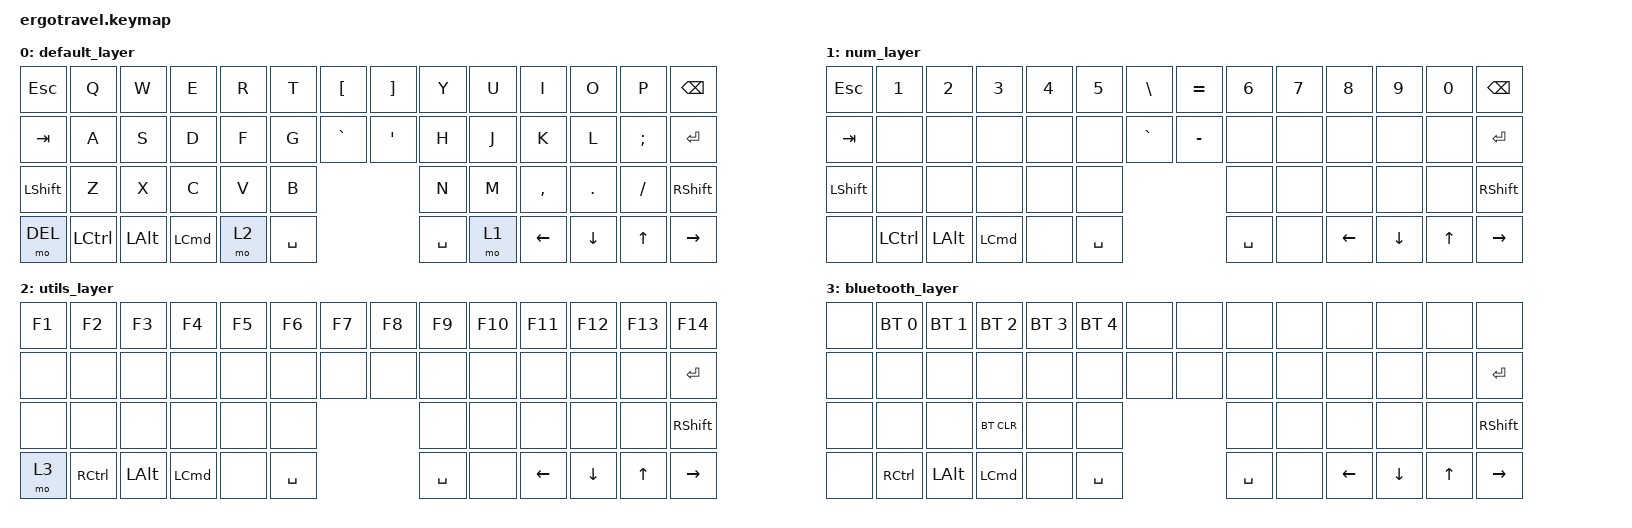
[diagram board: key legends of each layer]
#include <behaviors.dtsi>
#include <dt-bindings/zmk/keys.h>
#include <dt-bindings/zmk/bt.h>

/ {
    keymap {
        compatible = "zmk,keymap";

        default_layer {
// --------------------------------------------------------------------------------------------------------------------------------------------------------------------
// |   ESC   |    Q    |    W    |    E    |    R    |    T    |    {    |  |    }    |    Y    |    U    |    I    |    O    |    P    |  BSPC   |
// |   CTRL  |    A    |    S    |    D    |    F    |    G    |    `    |  |    '    |    H    |    J    |    K    |    L    |    ;    |  ENTER  |
// |  SHIFT  |    Z    |    X    |    C    |    V    |    B    |                      |    N    |    M    |    ,    |    .    |    /    |  SHIFT  |
// |  none   |  CTRL   |  OPTION |   CMD   |  LOWER  |  SPACE  |                      |  SPACE  |  RAISE  |   LEFT  |  DOWN   |   UP    |  RIGHT  |
            bindings = <
    &kp ESC    &kp Q     &kp W    &kp E     &kp R     &kp T     &kp LBKT     &kp RBKT  &kp Y     &kp U     &kp I     &kp O     &kp P     &kp BSPC
    &kp TAB    &kp A     &kp S    &kp D     &kp F     &kp G     &kp GRAVE    &kp SQT   &kp H     &kp J     &kp K     &kp L     &kp SEMI  &kp ENTER
    &kp LSHIFT &kp Z     &kp X    &kp C     &kp V     &kp B                            &kp N     &kp M     &kp COMMA &kp DOT   &kp FSLH  &kp RSHIFT
    &mo DEL    &kp LCTRL &kp LALT &kp LCMD  &mo 2     &kp SPACE                        &kp SPACE &mo 1     &kp LEFT  &kp DOWN  &kp UP    &kp RIGHT
            >;
        };

        num_layer {
            bindings = <
    &kp ESC    &kp N1    &kp N2   &kp N3    &kp N4    &kp N5    &kp BSLH     &kp EQUAL &kp N6    &kp N7    &kp N8    &kp N9    &kp N0    &kp BSPC
    &kp TAB    &none     &none    &none     &none     &none     &kp GRAVE    &kp MINUS &none     &none     &none     &none     &none     &kp ENTER
    &kp LSHIFT &none     &none    &none     &none     &none                            &none     &none     &none     &none     &none     &kp RSHIFT
    &none      &kp LCTRL &kp LALT &kp LCMD  &none   &kp SPACE                        &kp SPACE &none     &kp LEFT  &kp DOWN  &kp UP    &kp RIGHT
            >;            
        };

        utils_layer {
            bindings = <
    &kp F1    &kp F2    &kp F3   &kp F4    &kp F5    &kp F6    &kp F7       &kp F8    &kp F9    &kp F10   &kp F11   &kp F12   &kp F13   &kp F14
    &none     &none     &none    &none     &none     &none     &none        &none     &none     &none     &none     &none     &none     &kp ENTER
    &none     &none     &none    &none     &none     &none                            &none     &none     &none     &none     &none     &kp RSHIFT
    &mo 3     &kp RCTRL &kp LALT &kp LCMD  &none     &kp SPACE                        &kp SPACE &none     &kp LEFT  &kp DOWN  &kp UP    &kp RIGHT
            >;            
        };

        bluetooth_layer {
            bindings = <
    &none &bt BT_SEL 0 &bt BT_SEL 1 &bt BT_SEL 2 &bt BT_SEL 3 &bt BT_SEL 4    &none       &none    &none    &none   &none   &none   &none   &none
    &none     &none     &none    &none     &none     &none     &none        &none     &none     &none     &none     &none     &none     &kp ENTER
    &none     &none     &none    &bt BT_CLR  &none     &none                            &none     &none     &none     &none     &none     &kp RSHIFT
    &none     &kp RCTRL &kp LALT &kp LCMD  &none     &kp SPACE                        &kp SPACE &none     &kp LEFT  &kp DOWN  &kp UP    &kp RIGHT
            >;            
        };

    };
};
